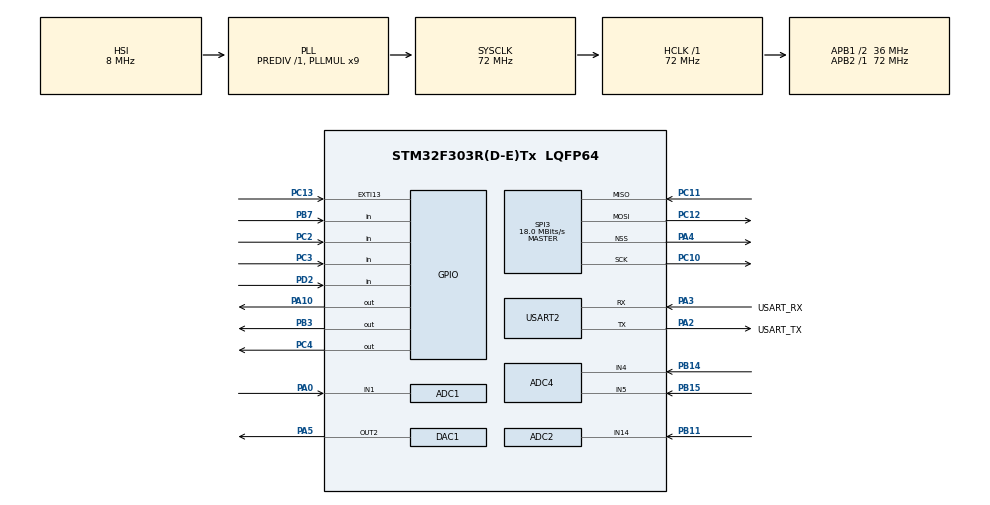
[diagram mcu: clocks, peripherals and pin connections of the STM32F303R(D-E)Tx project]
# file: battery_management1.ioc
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ADC1.Channel-0\#ChannelRegularConversion=ADC_CHANNEL_1
ADC1.NbrOfConversionFlag=1
ADC1.Offset-0\#ChannelRegularConversion=0
ADC1.OffsetNumber-0\#ChannelRegularConversion=ADC_OFFSET_NONE
ADC1.Rank-0\#ChannelRegularConversion=1
ADC1.SamplingTime-0\#ChannelRegularConversion=ADC_SAMPLETIME_1CYCLE_5
ADC1.master=1
ADC2.Channel-2\#ChannelRegularConversion=ADC_CHANNEL_14
ADC2.ContinuousConvMode=ENABLE
ADC2.DMAContinuousRequests=DISABLE
ADC2.NbrOfConversionFlag=1
ADC2.Offset-2\#ChannelRegularConversion=0
ADC2.OffsetNumber-2\#ChannelRegularConversion=ADC_OFFSET_NONE
ADC2.Rank-2\#ChannelRegularConversion=1
ADC2.SamplingTime-2\#ChannelRegularConversion=ADC_SAMPLETIME_19CYCLES_5
ADC2.SamplingTimeOPAMP-2\#ChannelRegularConversion=ADC_SAMPLETIME_4CYCLES_5
ADC4.Channel-1\#ChannelRegularConversion=ADC_CHANNEL_4
ADC4.Channel-2\#ChannelRegularConversion=ADC_CHANNEL_5
ADC4.ContinuousConvMode=ENABLE
ADC4.DMAContinuousRequests=DISABLE
ADC4.EOCSelection=ADC_EOC_SINGLE_CONV
ADC4.NbrOfConversion=2
ADC4.NbrOfConversionFlag=1
ADC4.Offset-1\#ChannelRegularConversion=0
ADC4.Offset-2\#ChannelRegularConversion=0
ADC4.OffsetNumber-1\#ChannelRegularConversion=ADC_OFFSET_NONE
ADC4.OffsetNumber-2\#ChannelRegularConversion=ADC_OFFSET_NONE
ADC4.Rank-1\#ChannelRegularConversion=1
ADC4.Rank-2\#ChannelRegularConversion=2
ADC4.SamplingTime-1\#ChannelRegularConversion=ADC_SAMPLETIME_19CYCLES_5
ADC4.SamplingTime-2\#ChannelRegularConversion=ADC_SAMPLETIME_19CYCLES_5
ADC4.SamplingTimeOPAMP-2\#ChannelRegularConversion=ADC_SAMPLETIME_61CYCLES_5
ADC4.SequencerNbRanks=2
Dma.ADC4.0.Direction=DMA_PERIPH_TO_MEMORY
Dma.ADC4.0.Instance=DMA2_Channel2
Dma.ADC4.0.MemDataAlignment=DMA_MDATAALIGN_HALFWORD
Dma.ADC4.0.MemInc=DMA_MINC_ENABLE
Dma.ADC4.0.Mode=DMA_NORMAL
Dma.ADC4.0.PeriphDataAlignment=DMA_PDATAALIGN_HALFWORD
Dma.ADC4.0.PeriphInc=DMA_PINC_DISABLE
Dma.ADC4.0.Priority=DMA_PRIORITY_LOW
Dma.Request0=ADC4
Mcu.Family=STM32F3
Mcu.Name=STM32F303R(D-E)Tx
Mcu.Package=LQFP64
NVIC.ADC1_2_IRQn=true\:0\:0\:false\:true\:true\:6\:true\:true\:true
NVIC.ADC4_IRQn=true\:0\:0\:false\:false\:true\:true\:true\:true
NVIC.DMA2_Channel2_IRQn=true\:0\:0\:false\:true\:true\:5\:false\:true\:true
NVIC.EXTI15_10_IRQn=true\:0\:0\:false\:true\:true\:2\:true\:true\:true
NVIC.PriorityGroup=NVIC_PRIORITYGROUP_0
NVIC.TIM2_IRQn=true\:0\:0\:false\:true\:true\:3\:true\:true\:true
NVIC.TIM4_IRQn=true\:0\:0\:false\:true\:true\:4\:true\:true\:true
NVIC.TIM8_BRK_IRQn=true\:0\:0\:false\:false\:true\:true\:true\:true
NVIC.USART2_IRQn=true\:0\:0\:false\:true\:true\:1\:true\:true\:true
PA0.Mode=IN1-Single-Ended
PA0.Signal=ADC1_IN1
PA1.Signal=ADC1_IN2
PA10.Signal=GPIO_Output
PA13.GPIO_Label=TMS
PA13.Mode=Serial_Wire
PA13.Signal=SYS_JTMS-SWDIO
PA14.GPIO_Label=TCK
PA14.Mode=Serial_Wire
PA14.Signal=SYS_JTCK-SWCLK
PA2.GPIO_Label=USART_TX
PA2.GPIO_Mode=GPIO_MODE_AF_PP
PA2.GPIO_PuPd=GPIO_NOPULL
PA2.GPIO_Speed=GPIO_SPEED_FREQ_LOW
PA2.Mode=Asynchronous
PA2.Signal=USART2_TX
PA3.GPIO_Label=USART_RX
PA3.GPIO_Mode=GPIO_MODE_AF_PP
PA3.GPIO_PuPd=GPIO_NOPULL
PA3.GPIO_Speed=GPIO_SPEED_FREQ_LOW
PA3.Mode=Asynchronous
PA3.Signal=USART2_RX
PA4.Mode=NSS_Signal_Hard_Output
PA4.Signal=SPI3_NSS
PA5.Signal=COMP_DAC12_group
PB11.Mode=IN14-Single-Ended
PB11.Signal=ADC2_IN14
PB14.Mode=IN4-Single-Ended
PB14.Signal=ADC4_IN4
PB15.Mode=IN5-Single-Ended
PB15.Signal=ADC4_IN5
PB3.Signal=GPIO_Output
PB7.Signal=GPIO_Input
PC1.Signal=ADCx_IN7
PC10.Mode=Full_Duplex_Master
PC10.Signal=SPI3_SCK
PC11.Mode=Full_Duplex_Master
PC11.Signal=SPI3_MISO
PC12.Mode=Full_Duplex_Master
PC12.Signal=SPI3_MOSI
PC13.Signal=GPXTI13
PC14-OSC32_IN.Mode=LSE-External-Oscillator
PC14-OSC32_IN.Signal=RCC_OSC32_IN
PC15-OSC32_OUT.Mode=LSE-External-Oscillator
PC15-OSC32_OUT.Signal=RCC_OSC32_OUT
PC2.Signal=GPIO_Input
PC3.Signal=GPIO_Input
PC4.Signal=GPIO_Output
PD2.Signal=GPIO_Input
PF0-OSC_IN.Mode=HSE-External-Clock-Source
PF0-OSC_IN.Signal=RCC_OSC_IN
PF1-OSC_OUT.Signal=RCC_OSC_OUT
ProjectManager.HeapSize=0x200
ProjectManager.StackSize=0x400
ProjectManager.TargetToolchain=STM32CubeIDE
RCC.ADC12PRES=RCC_ADC12PLLCLK_DIV8
RCC.ADC34PRES=RCC_ADC34PLLCLK_DIV8
RCC.AHBFreq_Value=72000000
RCC.APB1CLKDivider=RCC_HCLK_DIV2
RCC.APB1Freq_Value=36000000
RCC.APB1TimFreq_Value=72000000
RCC.APB2Freq_Value=72000000
RCC.APB2TimFreq_Value=72000000
RCC.CortexFreq_Value=72000000
RCC.HCLKFreq_Value=72000000
RCC.HSE_VALUE=8000000
RCC.HSI_VALUE=8000000
RCC.PLLM=8
RCC.PLLMUL=RCC_PLL_MUL9
RCC.PLLN=336
RCC.PLLP=RCC_PLLP_DIV4
RCC.PLLQ=7
RCC.RCC_PLLsource_Clock_Source_FROM_HSE=RCC_HSE_PREDIV_DIV2
RCC.SYSCLKFreq_VALUE=72000000
RCC.SYSCLKSourceVirtual=RCC_SYSCLKSOURCE_PLLCLK
RCC.USBFreq_Value=72000000
SH.ADCx_IN7.0=ADC2_IN7
SH.COMP_DAC12_group.0=DAC1_OUT2,Enable_DAC_OUT2
SPI3.CalculateBaudRate=18.0 MBits/s
SPI3.Direction=SPI_DIRECTION_2LINES
SPI3.Mode=SPI_MODE_MASTER
SPI3.VirtualNSS=VM_NSSHARD
SPI3.VirtualType=VM_MASTER
TIM2.AutoReloadPreload=TIM_AUTORELOAD_PRELOAD_ENABLE
TIM2.Channel-Output\ Compare1\ No\ Output=TIM_CHANNEL_1
TIM2.Period=8192
TIM2.Prescaler=8192
TIM4.AutoReloadPreload=TIM_AUTORELOAD_PRELOAD_ENABLE
TIM4.Channel-Output\ Compare1\ No\ Output=TIM_CHANNEL_1
TIM4.Period=8192
TIM4.Prescaler=8192
TIM8.AutoReloadPreload=TIM_AUTORELOAD_PRELOAD_ENABLE
TIM8.Channel-Output\ Compare2\ No\ Output=TIM_CHANNEL_2
TIM8.Period=8192
TIM8.Prescaler=8192
USART2.VirtualMode-Asynchronous=VM_ASYNC
VP_TIM2_VS_ClockSourceINT.Mode=Internal
VP_TIM2_VS_no_output1.Mode=Output Compare1 No Output
VP_TIM4_VS_ClockSourceINT.Mode=Internal
VP_TIM4_VS_no_output1.Mode=Output Compare1 No Output
VP_TIM8_VS_ClockSourceINT.Mode=Internal
VP_TIM8_VS_no_output2.Mode=Output Compare2 No Output
board=NUCLEO-F303RE

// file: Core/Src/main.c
/* USER CODE BEGIN Header */
/**
  ******************************************************************************
  * @file           : main.c
  * @brief          : Main program body
  ******************************************************************************
  * @attention
  *
  * Copyright (c) 2025 STMicroelectronics.
  * All rights reserved.
  *
  * This software is licensed under terms that can be found in the LICENSE file
  * in the root directory of this software component.
  * If no LICENSE file comes with this software, it is provided AS-IS.
  *
  ******************************************************************************
  */
/* USER CODE END Header */
#include "main.h"

/* USER CODE BEGIN Includes */
#include <stdio.h>
#include <stdbool.h>
#include "b2b.h"
/* USER CODE END Includes */

/* USER CODE BEGIN PD */
#define ADC_BUF_LENGTH   10
#define BRIGHT_SCALE     250
/* USER CODE END PD */

ADC_HandleTypeDef hadc1;
ADC_HandleTypeDef hadc2;
ADC_HandleTypeDef hadc4;
DMA_HandleTypeDef hdma_adc4;

DAC_HandleTypeDef hdac1;

SPI_HandleTypeDef hspi3;

TIM_HandleTypeDef htim2;
TIM_HandleTypeDef htim4;
TIM_HandleTypeDef htim8;

UART_HandleTypeDef huart2;

/* USER CODE BEGIN PV */
uint16_t adc_buffer[ADC_BUF_LENGTH];
uint16_t adc_buffer2[ADC_BUF_LENGTH];
float thresh_low = 3.5;
float thresh_high = 4.2;
struct RawParamStruct rawParam = {
		.rawTemp = 0,
		.rawCurrent = 0,
		.rawVoltage = 0
};
static struct ProcParamStruct procParam = {
		.procTemp = 0,
		.procCurrent = 0,
		.procVoltage = 0
};
uint8_t uartBuf;
char txBuffer[16];
uint16_t voltageInt;
bool button_delay = false;
int brightDirection = 1;
uint16_t brightPrevious = 500;
bool conversionFlag = false;
/* USER CODE END PV */

void SystemClock_Config(void);
static void MX_GPIO_Init(void);
static void MX_DMA_Init(void);
static void MX_USART2_UART_Init(void);
static void MX_ADC1_Init(void);
static void MX_ADC2_Init(void);
static void MX_ADC4_Init(void);
static void MX_DAC1_Init(void);
static void MX_SPI3_Init(void);
static void MX_TIM4_Init(void);
static void MX_TIM8_Init(void);
static void MX_TIM2_Init(void);
static void MX_NVIC_Init(void);

/* USER CODE BEGIN 0 */
void HAL_TIM_PeriodElapsedCallback(TIM_HandleTypeDef *htim)
{
	if(htim == &htim4) {
		//HAL_ADC_Start_DMA(&hadc2, adc_buffer, ADC_BUF_LENGTH);
	}
	else if(htim == &htim2) {
		HAL_ADC_Start_DMA(&hadc4, adc_buffer2, ADC_BUF_LENGTH);
	}
    button_delay = true;
}

void HAL_ADC_ConvCpltCallback(ADC_HandleTypeDef* hadc)
{
    uint32_t sum = 0;
    uint32_t sum1 = 0;
    uint32_t sum2 = 0;
    static int counter = 0;
	if(hadc == &hadc2) {
		if(counter < 10) {
			adc_buffer[counter] = HAL_ADC_GetValue(hadc);
			counter++;
		}
		else {
			for(uint8_t i = 0; i < 10; i++) {
				sum1 = sum1 + adc_buffer[i];
			}
			rawParam.rawTemp = sum1/10;
			counter = 0;
		}

	}
	else if(hadc == &hadc4) {

		for(uint8_t i = 0; i < 10; i+=2) {
			sum += adc_buffer2[i];
		}

		for(uint8_t i = 1; i < 10; i+=2) {
			sum2 += adc_buffer2[i];

		}
		rawParam.rawCurrent = sum/5;
		rawParam.rawVoltage = sum2/5;
		conversionFlag = true;
	}

}

void HAL_UART_RxCpltCallback(UART_HandleTypeDef *huart) {
	if(huart == &huart2) {
		//command to increase brightness
		if(uartBuf == 43) {
			brightDirection = -1;
		}
		//command to decrease brightness
		else if(uartBuf == 45) {
			brightDirection = 1;
		}
	}
	HAL_UART_Receive_IT(&huart2, &uartBuf, 1);
}

void HAL_GPIO_EXTI_Callback(uint16_t GPIO_Pin) {
	if(GPIO_Pin == GPIO_PIN_13 && button_delay) {
		if(brightPrevious > 250 && brightPrevious < 1500) {
			HAL_DAC_SetValue(&hdac1, DAC_CHANNEL_2, DAC_ALIGN_12B_R, brightPrevious + brightDirection*BRIGHT_SCALE);
			brightPrevious += brightDirection*BRIGHT_SCALE;
		}
		else if(brightPrevious <= 250) {
			brightDirection = 1;
			HAL_DAC_SetValue(&hdac1, DAC_CHANNEL_2, DAC_ALIGN_12B_R, brightPrevious + brightDirection*BRIGHT_SCALE);
			brightPrevious += brightDirection*BRIGHT_SCALE;
		}
		else if(brightPrevious >= 1500) {
			brightDirection = -1;
			HAL_DAC_SetValue(&hdac1, DAC_CHANNEL_2, DAC_ALIGN_12B_R, brightPrevious + brightDirection*BRIGHT_SCALE);
			brightPrevious *= brightDirection*BRIGHT_SCALE;
		}
	}
	button_delay = false;
}
/* USER CODE END 0 */

int main(void)
{

  /* MCU Configuration--------------------------------------------------------*/

  /* Reset of all peripherals, Initializes the Flash interface and the Systick. */
  HAL_Init();

  /* Configure the system clock */
  SystemClock_Config();

  /* Initialize all configured peripherals */
  MX_GPIO_Init();
  MX_DMA_Init();
  MX_USART2_UART_Init();
  MX_ADC1_Init();
  MX_ADC2_Init();
  MX_ADC4_Init();
  MX_DAC1_Init();
  MX_SPI3_Init();
  MX_TIM4_Init();
  MX_TIM8_Init();
  MX_TIM2_Init();

  /* Initialize interrupts */
  MX_NVIC_Init();
  /* USER CODE BEGIN 2 */
  HAL_TIM_Base_Start_IT(&htim4);
  HAL_UART_Receive_IT(&huart2, &uartBuf, 1);
  HAL_DAC_Start(&hdac1, DAC_CHANNEL_2);
  //HAL_ADC_Start_DMA(&hadc4, adc_buffer2, ADC_BUF_LENGTH);
  //HAL_ADC_Start_DMA(&hadc2, adc_buffer, ADC_BUF_LENGTH);
  //HAL_Delay(200);
  HAL_TIM_Base_Start_IT(&htim2);
  HAL_ADC_Start_IT(&hadc2);
  /* USER CODE END 2 */

  /* Infinite loop */
  /* USER CODE BEGIN WHILE */
  while (1)
  {
    if(conversionFlag) {
		procParam = readParameters(rawParam.rawTemp, rawParam.rawCurrent, rawParam.rawVoltage);
		sprintf(txBuffer, "Value: %u\r\n", rawParam.rawTemp);
		HAL_UART_Transmit(&huart2, txBuffer, strlen(txBuffer), 2000);
		sprintf(txBuffer, "Value: %u\r\n", rawParam.rawCurrent);
		HAL_UART_Transmit(&huart2, txBuffer, strlen(txBuffer), 2000);
		conversionFlag = false;
    }

    /* USER CODE END WHILE */

  }
}

void SystemClock_Config(void)
{
  RCC_OscInitTypeDef RCC_OscInitStruct = {0};
  RCC_ClkInitTypeDef RCC_ClkInitStruct = {0};
  RCC_PeriphCLKInitTypeDef PeriphClkInit = {0};

  /** Initializes the RCC Oscillators according to the specified parameters
  * in the RCC_OscInitTypeDef structure.
  */
  RCC_OscInitStruct.OscillatorType = RCC_OSCILLATORTYPE_HSI;
  RCC_OscInitStruct.HSIState = RCC_HSI_ON;
  RCC_OscInitStruct.HSICalibrationValue = RCC_HSICALIBRATION_DEFAULT;
  RCC_OscInitStruct.PLL.PLLState = RCC_PLL_ON;
  RCC_OscInitStruct.PLL.PLLSource = RCC_PLLSOURCE_HSI;
  RCC_OscInitStruct.PLL.PLLMUL = RCC_PLL_MUL9;
  RCC_OscInitStruct.PLL.PREDIV = RCC_PREDIV_DIV1;
  if (HAL_RCC_OscConfig(&RCC_OscInitStruct) != HAL_OK)
  {
    Error_Handler();
  }

  /** Initializes the CPU, AHB and APB buses clocks
  */
  RCC_ClkInitStruct.ClockType = RCC_CLOCKTYPE_HCLK|RCC_CLOCKTYPE_SYSCLK
                              |RCC_CLOCKTYPE_PCLK1|RCC_CLOCKTYPE_PCLK2;
  RCC_ClkInitStruct.SYSCLKSource = RCC_SYSCLKSOURCE_PLLCLK;
  RCC_ClkInitStruct.AHBCLKDivider = RCC_SYSCLK_DIV1;
  RCC_ClkInitStruct.APB1CLKDivider = RCC_HCLK_DIV2;
  RCC_ClkInitStruct.APB2CLKDivider = RCC_HCLK_DIV1;

  if (HAL_RCC_ClockConfig(&RCC_ClkInitStruct, FLASH_LATENCY_2) != HAL_OK)
  {
    Error_Handler();
  }
  PeriphClkInit.PeriphClockSelection = RCC_PERIPHCLK_USART2|RCC_PERIPHCLK_TIM8
                              |RCC_PERIPHCLK_ADC12|RCC_PERIPHCLK_ADC34
                              |RCC_PERIPHCLK_TIM2|RCC_PERIPHCLK_TIM34;
  PeriphClkInit.Usart2ClockSelection = RCC_USART2CLKSOURCE_PCLK1;
  PeriphClkInit.Adc12ClockSelection = RCC_ADC12PLLCLK_DIV8;
  PeriphClkInit.Adc34ClockSelection = RCC_ADC34PLLCLK_DIV8;
  PeriphClkInit.Tim8ClockSelection = RCC_TIM8CLK_HCLK;
  PeriphClkInit.Tim2ClockSelection = RCC_TIM2CLK_HCLK;
  PeriphClkInit.Tim34ClockSelection = RCC_TIM34CLK_HCLK;
  if (HAL_RCCEx_PeriphCLKConfig(&PeriphClkInit) != HAL_OK)
  {
    Error_Handler();
  }
}

/**
  * @brief NVIC Configuration.
  * @retval None
  */
static void MX_NVIC_Init(void)
{
  /* USART2_IRQn interrupt configuration */
  HAL_NVIC_SetPriority(USART2_IRQn, 0, 0);
  HAL_NVIC_EnableIRQ(USART2_IRQn);
  /* EXTI15_10_IRQn interrupt configuration */
  HAL_NVIC_SetPriority(EXTI15_10_IRQn, 0, 0);
  HAL_NVIC_EnableIRQ(EXTI15_10_IRQn);
  /* TIM2_IRQn interrupt configuration */
  HAL_NVIC_SetPriority(TIM2_IRQn, 0, 0);
  HAL_NVIC_EnableIRQ(TIM2_IRQn);
  /* TIM4_IRQn interrupt configuration */
  HAL_NVIC_SetPriority(TIM4_IRQn, 0, 0);
  HAL_NVIC_EnableIRQ(TIM4_IRQn);
  /* DMA2_Channel2_IRQn interrupt configuration */
  HAL_NVIC_SetPriority(DMA2_Channel2_IRQn, 0, 0);
  HAL_NVIC_EnableIRQ(DMA2_Channel2_IRQn);
  /* ADC1_2_IRQn interrupt configuration */
  HAL_NVIC_SetPriority(ADC1_2_IRQn, 0, 0);
  HAL_NVIC_EnableIRQ(ADC1_2_IRQn);
}

static void MX_ADC1_Init(void)
{

  ADC_MultiModeTypeDef multimode = {0};
  ADC_ChannelConfTypeDef sConfig = {0};

  /** Common config
  */
  hadc1.Instance = ADC1;
  hadc1.Init.ClockPrescaler = ADC_CLOCK_ASYNC_DIV1;
  hadc1.Init.Resolution = ADC_RESOLUTION_12B;
  hadc1.Init.ScanConvMode = ADC_SCAN_DISABLE;
  hadc1.Init.ContinuousConvMode = DISABLE;
  hadc1.Init.DiscontinuousConvMode = DISABLE;
  hadc1.Init.ExternalTrigConvEdge = ADC_EXTERNALTRIGCONVEDGE_NONE;
  hadc1.Init.ExternalTrigConv = ADC_SOFTWARE_START;
  hadc1.Init.DataAlign = ADC_DATAALIGN_RIGHT;
  hadc1.Init.NbrOfConversion = 1;
  hadc1.Init.DMAContinuousRequests = DISABLE;
  hadc1.Init.EOCSelection = ADC_EOC_SINGLE_CONV;
  hadc1.Init.LowPowerAutoWait = DISABLE;
  hadc1.Init.Overrun = ADC_OVR_DATA_OVERWRITTEN;
  if (HAL_ADC_Init(&hadc1) != HAL_OK)
  {
    Error_Handler();
  }

  /** Configure the ADC multi-mode
  */
  multimode.Mode = ADC_MODE_INDEPENDENT;
  if (HAL_ADCEx_MultiModeConfigChannel(&hadc1, &multimode) != HAL_OK)
  {
    Error_Handler();
  }

  /** Configure Regular Channel
  */
  sConfig.Channel = ADC_CHANNEL_1;
  sConfig.Rank = ADC_REGULAR_RANK_1;
  sConfig.SingleDiff = ADC_SINGLE_ENDED;
  sConfig.SamplingTime = ADC_SAMPLETIME_1CYCLE_5;
  sConfig.OffsetNumber = ADC_OFFSET_NONE;
  sConfig.Offset = 0;
  if (HAL_ADC_ConfigChannel(&hadc1, &sConfig) != HAL_OK)
  {
    Error_Handler();
  }

}

static void MX_ADC2_Init(void)
{

  ADC_ChannelConfTypeDef sConfig = {0};

  /** Common config
  */
  hadc2.Instance = ADC2;
  hadc2.Init.ClockPrescaler = ADC_CLOCK_ASYNC_DIV1;
  hadc2.Init.Resolution = ADC_RESOLUTION_12B;
  hadc2.Init.ScanConvMode = ADC_SCAN_DISABLE;
  hadc2.Init.ContinuousConvMode = ENABLE;
  hadc2.Init.DiscontinuousConvMode = DISABLE;
  hadc2.Init.ExternalTrigConvEdge = ADC_EXTERNALTRIGCONVEDGE_NONE;
  hadc2.Init.ExternalTrigConv = ADC_SOFTWARE_START;
  hadc2.Init.DataAlign = ADC_DATAALIGN_RIGHT;
  hadc2.Init.NbrOfConversion = 1;
  hadc2.Init.DMAContinuousRequests = DISABLE;
  hadc2.Init.EOCSelection = ADC_EOC_SINGLE_CONV;
  hadc2.Init.LowPowerAutoWait = DISABLE;
  hadc2.Init.Overrun = ADC_OVR_DATA_OVERWRITTEN;
  if (HAL_ADC_Init(&hadc2) != HAL_OK)
  {
    Error_Handler();
  }

  /** Configure Regular Channel
  */
  sConfig.Channel = ADC_CHANNEL_14;
  sConfig.Rank = ADC_REGULAR_RANK_1;
  sConfig.SingleDiff = ADC_SINGLE_ENDED;
  sConfig.SamplingTime = ADC_SAMPLETIME_19CYCLES_5;
  sConfig.OffsetNumber = ADC_OFFSET_NONE;
  sConfig.Offset = 0;
  if (HAL_ADC_ConfigChannel(&hadc2, &sConfig) != HAL_OK)
  {
    Error_Handler();
  }

}

static void MX_ADC4_Init(void)
{

  ADC_ChannelConfTypeDef sConfig = {0};

  /** Common config
  */
  hadc4.Instance = ADC4;
  hadc4.Init.ClockPrescaler = ADC_CLOCK_ASYNC_DIV1;
  hadc4.Init.Resolution = ADC_RESOLUTION_12B;
  hadc4.Init.ScanConvMode = ADC_SCAN_ENABLE;
  hadc4.Init.ContinuousConvMode = ENABLE;
  hadc4.Init.DiscontinuousConvMode = DISABLE;
  hadc4.Init.ExternalTrigConvEdge = ADC_EXTERNALTRIGCONVEDGE_NONE;
  hadc4.Init.ExternalTrigConv = ADC_SOFTWARE_START;
  hadc4.Init.DataAlign = ADC_DATAALIGN_RIGHT;
  hadc4.Init.NbrOfConversion = 2;
  hadc4.Init.DMAContinuousRequests = DISABLE;
  hadc4.Init.EOCSelection = ADC_EOC_SINGLE_CONV;
  hadc4.Init.LowPowerAutoWait = DISABLE;
  hadc4.Init.Overrun = ADC_OVR_DATA_OVERWRITTEN;
  if (HAL_ADC_Init(&hadc4) != HAL_OK)
  {
    Error_Handler();
  }

  /** Configure Regular Channel
  */
  sConfig.Channel = ADC_CHANNEL_4;
  sConfig.Rank = ADC_REGULAR_RANK_1;
  sConfig.SingleDiff = ADC_SINGLE_ENDED;
  sConfig.SamplingTime = ADC_SAMPLETIME_19CYCLES_5;
  sConfig.OffsetNumber = ADC_OFFSET_NONE;
  sConfig.Offset = 0;
  if (HAL_ADC_ConfigChannel(&hadc4, &sConfig) != HAL_OK)
  {
    Error_Handler();
  }

  /** Configure Regular Channel
  */
  sConfig.Channel = ADC_CHANNEL_5;
  sConfig.Rank = ADC_REGULAR_RANK_2;
  if (HAL_ADC_ConfigChannel(&hadc4, &sConfig) != HAL_OK)
  {
    Error_Handler();
  }

}

static void MX_DAC1_Init(void)
{

  DAC_ChannelConfTypeDef sConfig = {0};

  /** DAC Initialization
  */
  hdac1.Instance = DAC1;
  if (HAL_DAC_Init(&hdac1) != HAL_OK)
  {
    Error_Handler();
  }

  /** DAC channel OUT2 config
  */
  sConfig.DAC_Trigger = DAC_TRIGGER_NONE;
  sConfig.DAC_OutputBuffer = DAC_OUTPUTBUFFER_ENABLE;
  if (HAL_DAC_ConfigChannel(&hdac1, &sConfig, DAC_CHANNEL_2) != HAL_OK)
  {
    Error_Handler();
  }

}

static void MX_SPI3_Init(void)
{

  /* SPI3 parameter configuration*/
  hspi3.Instance = SPI3;
  hspi3.Init.Mode = SPI_MODE_MASTER;
  hspi3.Init.Direction = SPI_DIRECTION_2LINES;
  hspi3.Init.DataSize = SPI_DATASIZE_4BIT;
  hspi3.Init.CLKPolarity = SPI_POLARITY_LOW;
  hspi3.Init.CLKPhase = SPI_PHASE_1EDGE;
  hspi3.Init.NSS = SPI_NSS_HARD_OUTPUT;
  hspi3.Init.BaudRatePrescaler = SPI_BAUDRATEPRESCALER_2;
  hspi3.Init.FirstBit = SPI_FIRSTBIT_MSB;
  hspi3.Init.TIMode = SPI_TIMODE_DISABLE;
  hspi3.Init.CRCCalculation = SPI_CRCCALCULATION_DISABLE;
  hspi3.Init.CRCPolynomial = 7;
  hspi3.Init.CRCLength = SPI_CRC_LENGTH_DATASIZE;
  hspi3.Init.NSSPMode = SPI_NSS_PULSE_ENABLE;
  if (HAL_SPI_Init(&hspi3) != HAL_OK)
  {
    Error_Handler();
  }

}

static void MX_TIM2_Init(void)
{

  TIM_ClockConfigTypeDef sClockSourceConfig = {0};
  TIM_MasterConfigTypeDef sMasterConfig = {0};
  TIM_OC_InitTypeDef sConfigOC = {0};

  htim2.Instance = TIM2;
  htim2.Init.Prescaler = 8192;
  htim2.Init.CounterMode = TIM_COUNTERMODE_UP;
  htim2.Init.Period = 8192;
  htim2.Init.ClockDivision = TIM_CLOCKDIVISION_DIV1;
  htim2.Init.AutoReloadPreload = TIM_AUTORELOAD_PRELOAD_ENABLE;
  if (HAL_TIM_Base_Init(&htim2) != HAL_OK)
  {
    Error_Handler();
  }
  sClockSourceConfig.ClockSource = TIM_CLOCKSOURCE_INTERNAL;
  if (HAL_TIM_ConfigClockSource(&htim2, &sClockSourceConfig) != HAL_OK)
  {
    Error_Handler();
  }
  if (HAL_TIM_OC_Init(&htim2) != HAL_OK)
  {
    Error_Handler();
  }
  sMasterConfig.MasterOutputTrigger = TIM_TRGO_RESET;
  sMasterConfig.MasterSlaveMode = TIM_MASTERSLAVEMODE_DISABLE;
  if (HAL_TIMEx_MasterConfigSynchronization(&htim2, &sMasterConfig) != HAL_OK)
  {
    Error_Handler();
  }
  sConfigOC.OCMode = TIM_OCMODE_TIMING;
  sConfigOC.Pulse = 0;
  sConfigOC.OCPolarity = TIM_OCPOLARITY_HIGH;
  sConfigOC.OCFastMode = TIM_OCFAST_DISABLE;
  if (HAL_TIM_OC_ConfigChannel(&htim2, &sConfigOC, TIM_CHANNEL_1) != HAL_OK)
  {
    Error_Handler();
  }

}

static void MX_TIM4_Init(void)
{

  TIM_ClockConfigTypeDef sClockSourceConfig = {0};
  TIM_MasterConfigTypeDef sMasterConfig = {0};
  TIM_OC_InitTypeDef sConfigOC = {0};

  htim4.Instance = TIM4;
  htim4.Init.Prescaler = 8192;
  htim4.Init.CounterMode = TIM_COUNTERMODE_UP;
  htim4.Init.Period = 8192;
  htim4.Init.ClockDivision = TIM_CLOCKDIVISION_DIV1;
  htim4.Init.AutoReloadPreload = TIM_AUTORELOAD_PRELOAD_ENABLE;
  if (HAL_TIM_Base_Init(&htim4) != HAL_OK)
  {
    Error_Handler();
  }
  sClockSourceConfig.ClockSource = TIM_CLOCKSOURCE_INTERNAL;
  if (HAL_TIM_ConfigClockSource(&htim4, &sClockSourceConfig) != HAL_OK)
  {
    Error_Handler();
  }
  if (HAL_TIM_OC_Init(&htim4) != HAL_OK)
  {
    Error_Handler();
  }
  sMasterConfig.MasterOutputTrigger = TIM_TRGO_RESET;
  sMasterConfig.MasterSlaveMode = TIM_MASTERSLAVEMODE_DISABLE;
  if (HAL_TIMEx_MasterConfigSynchronization(&htim4, &sMasterConfig) != HAL_OK)
  {
    Error_Handler();
  }
  sConfigOC.OCMode = TIM_OCMODE_TIMING;
  sConfigOC.Pulse = 0;
  sConfigOC.OCPolarity = TIM_OCPOLARITY_HIGH;
  sConfigOC.OCFastMode = TIM_OCFAST_DISABLE;
  if (HAL_TIM_OC_ConfigChannel(&htim4, &sConfigOC, TIM_CHANNEL_1) != HAL_OK)
  {
    Error_Handler();
  }

}

static void MX_TIM8_Init(void)
{

  TIM_ClockConfigTypeDef sClockSourceConfig = {0};
  TIM_MasterConfigTypeDef sMasterConfig = {0};
  TIM_OC_InitTypeDef sConfigOC = {0};
  TIM_BreakDeadTimeConfigTypeDef sBreakDeadTimeConfig = {0};

  htim8.Instance = TIM8;
  htim8.Init.Prescaler = 8192;
  htim8.Init.CounterMode = TIM_COUNTERMODE_UP;
  htim8.Init.Period = 8192;
  htim8.Init.ClockDivision = TIM_CLOCKDIVISION_DIV1;
  htim8.Init.RepetitionCounter = 0;
  htim8.Init.AutoReloadPreload = TIM_AUTORELOAD_PRELOAD_ENABLE;
  if (HAL_TIM_Base_Init(&htim8) != HAL_OK)
  {
    Error_Handler();
  }
  sClockSourceConfig.ClockSource = TIM_CLOCKSOURCE_INTERNAL;
  if (HAL_TIM_ConfigClockSource(&htim8, &sClockSourceConfig) != HAL_OK)
  {
    Error_Handler();
  }
  if (HAL_TIM_OC_Init(&htim8) != HAL_OK)
  {
    Error_Handler();
  }
  sMasterConfig.MasterOutputTrigger = TIM_TRGO_RESET;
  sMasterConfig.MasterOutputTrigger2 = TIM_TRGO2_RESET;
  sMasterConfig.MasterSlaveMode = TIM_MASTERSLAVEMODE_DISABLE;
  if (HAL_TIMEx_MasterConfigSynchronization(&htim8, &sMasterConfig) != HAL_OK)
  {
    Error_Handler();
  }
  sConfigOC.OCMode = TIM_OCMODE_TIMING;
  sConfigOC.Pulse = 0;
  sConfigOC.OCPolarity = TIM_OCPOLARITY_HIGH;
  sConfigOC.OCNPolarity = TIM_OCNPOLARITY_HIGH;
  sConfigOC.OCFastMode = TIM_OCFAST_DISABLE;
  sConfigOC.OCIdleState = TIM_OCIDLESTATE_RESET;
  sConfigOC.OCNIdleState = TIM_OCNIDLESTATE_RESET;
  if (HAL_TIM_OC_ConfigChannel(&htim8, &sConfigOC, TIM_CHANNEL_2) != HAL_OK)
  {
    Error_Handler();
  }
  sBreakDeadTimeConfig.OffStateRunMode = TIM_OSSR_DISABLE;
  sBreakDeadTimeConfig.OffStateIDLEMode = TIM_OSSI_DISABLE;
  sBreakDeadTimeConfig.LockLevel = TIM_LOCKLEVEL_OFF;
  sBreakDeadTimeConfig.DeadTime = 0;
  sBreakDeadTimeConfig.BreakState = TIM_BREAK_DISABLE;
  sBreakDeadTimeConfig.BreakPolarity = TIM_BREAKPOLARITY_HIGH;
  sBreakDeadTimeConfig.BreakFilter = 0;
  sBreakDeadTimeConfig.Break2State = TIM_BREAK2_DISABLE;
  sBreakDeadTimeConfig.Break2Polarity = TIM_BREAK2POLARITY_HIGH;
  sBreakDeadTimeConfig.Break2Filter = 0;
  sBreakDeadTimeConfig.AutomaticOutput = TIM_AUTOMATICOUTPUT_DISABLE;
  if (HAL_TIMEx_ConfigBreakDeadTime(&htim8, &sBreakDeadTimeConfig) != HAL_OK)
  {
    Error_Handler();
  }

}

static void MX_USART2_UART_Init(void)
{

  huart2.Instance = USART2;
  huart2.Init.BaudRate = 38400;
  huart2.Init.WordLength = UART_WORDLENGTH_8B;
  huart2.Init.StopBits = UART_STOPBITS_1;
  huart2.Init.Parity = UART_PARITY_NONE;
  huart2.Init.Mode = UART_MODE_TX_RX;
  huart2.Init.HwFlowCtl = UART_HWCONTROL_NONE;
  huart2.Init.OverSampling = UART_OVERSAMPLING_16;
  huart2.Init.OneBitSampling = UART_ONE_BIT_SAMPLE_DISABLE;
  huart2.AdvancedInit.AdvFeatureInit = UART_ADVFEATURE_NO_INIT;
  if (HAL_UART_Init(&huart2) != HAL_OK)
  {
    Error_Handler();
  }

}

static void MX_DMA_Init(void)
{

  /* DMA controller clock enable */
  __HAL_RCC_DMA2_CLK_ENABLE();

}

static void MX_GPIO_Init(void)
{
  GPIO_InitTypeDef GPIO_InitStruct = {0};

  /* GPIO Ports Clock Enable */
  __HAL_RCC_GPIOC_CLK_ENABLE();
  __HAL_RCC_GPIOF_CLK_ENABLE();
  __HAL_RCC_GPIOA_CLK_ENABLE();
  __HAL_RCC_GPIOB_CLK_ENABLE();
  __HAL_RCC_GPIOD_CLK_ENABLE();

  /*Configure GPIO pin Output Level */
  HAL_GPIO_WritePin(GPIOC, GPIO_PIN_4, GPIO_PIN_RESET);

  /*Configure GPIO pin Output Level */
  HAL_GPIO_WritePin(GPIOA, GPIO_PIN_10, GPIO_PIN_RESET);

  /*Configure GPIO pin Output Level */
  HAL_GPIO_WritePin(GPIOB, GPIO_PIN_3, GPIO_PIN_RESET);

  /*Configure GPIO pin : PC13 */
  GPIO_InitStruct.Pin = GPIO_PIN_13;
  GPIO_InitStruct.Mode = GPIO_MODE_IT_RISING;
  GPIO_InitStruct.Pull = GPIO_NOPULL;
  HAL_GPIO_Init(GPIOC, &GPIO_InitStruct);

  /*Configure GPIO pins : PC2 PC3 */
  GPIO_InitStruct.Pin = GPIO_PIN_2|GPIO_PIN_3;
  GPIO_InitStruct.Mode = GPIO_MODE_INPUT;
  GPIO_InitStruct.Pull = GPIO_NOPULL;
  HAL_GPIO_Init(GPIOC, &GPIO_InitStruct);

  /*Configure GPIO pin : PC4 */
  GPIO_InitStruct.Pin = GPIO_PIN_4;
  GPIO_InitStruct.Mode = GPIO_MODE_OUTPUT_PP;
  GPIO_InitStruct.Pull = GPIO_NOPULL;
  GPIO_InitStruct.Speed = GPIO_SPEED_FREQ_LOW;
  HAL_GPIO_Init(GPIOC, &GPIO_InitStruct);

  /*Configure GPIO pin : PA10 */
  GPIO_InitStruct.Pin = GPIO_PIN_10;
  GPIO_InitStruct.Mode = GPIO_MODE_OUTPUT_PP;
  GPIO_InitStruct.Pull = GPIO_NOPULL;
  GPIO_InitStruct.Speed = GPIO_SPEED_FREQ_LOW;
  HAL_GPIO_Init(GPIOA, &GPIO_InitStruct);

  /*Configure GPIO pin : PD2 */
  GPIO_InitStruct.Pin = GPIO_PIN_2;
  GPIO_InitStruct.Mode = GPIO_MODE_INPUT;
  GPIO_InitStruct.Pull = GPIO_NOPULL;
  HAL_GPIO_Init(GPIOD, &GPIO_InitStruct);

  /*Configure GPIO pin : PB3 */
  GPIO_InitStruct.Pin = GPIO_PIN_3;
  GPIO_InitStruct.Mode = GPIO_MODE_OUTPUT_PP;
  GPIO_InitStruct.Pull = GPIO_NOPULL;
  GPIO_InitStruct.Speed = GPIO_SPEED_FREQ_LOW;
  HAL_GPIO_Init(GPIOB, &GPIO_InitStruct);

  /*Configure GPIO pin : PB7 */
  GPIO_InitStruct.Pin = GPIO_PIN_7;
  GPIO_InitStruct.Mode = GPIO_MODE_INPUT;
  GPIO_InitStruct.Pull = GPIO_NOPULL;
  HAL_GPIO_Init(GPIOB, &GPIO_InitStruct);

}

void Error_Handler(void)
{
  __disable_irq();
  while (1)
  {
  }
}
